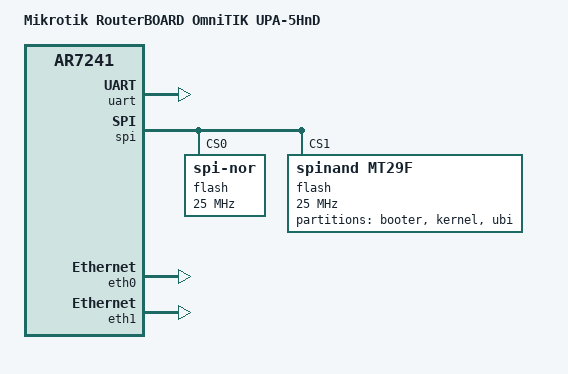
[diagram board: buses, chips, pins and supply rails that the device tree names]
// SPDX-License-Identifier: GPL-2.0-or-later OR MIT
/dts-v1/;

#include <dt-bindings/gpio/gpio.h>
#include <dt-bindings/input/input.h>

#include "ar7241.dtsi"

/ {
	compatible = "mikrotik,rb-upa-5hnd", "qca,ar7241";
	model = "Mikrotik RouterBOARD OmniTIK UPA-5HnD";
};

&uart {
	status = "okay";
};

&spi {
	status = "okay";
	num-cs = <1>;

	flash@0 {
		compatible = "jedec,spi-nor";
		reg = <0>;
		spi-max-frequency = <25000000>;
	};

	flash@1 {
		compatible = "spinand,mt29f";
		reg = <1>;
		spi-max-frequency = <25000000>;

		partitions {
			compatible = "fixed-partitions";
			#address-cells = <1>;
			#size-cells = <1>;

			partition@0 {
				label = "booter";
				reg = <0x0000000 0x0040000>;
			};

			partition@1 {
				label = "kernel";
				reg = <0x0040000 0x0400000>;
			};

			partition@2 {
				label = "ubi";
				reg = <0x0400000 0x8000000>;
			};
		};
	};
};

&eth0 {
	status = "okay";
};

&eth1 {
	status = "okay";
};
